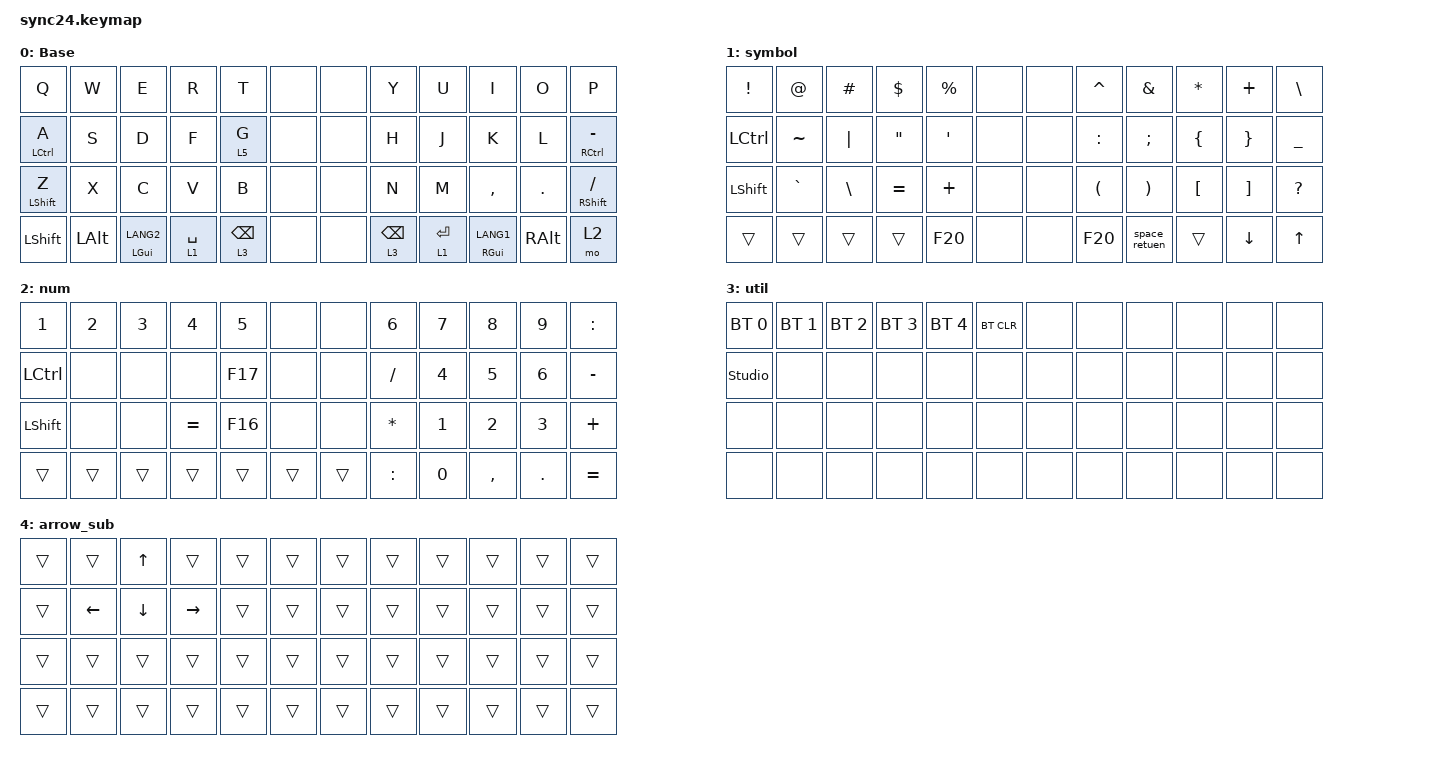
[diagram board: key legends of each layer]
#define ZMK_BEHAVIORS_OMIT_KT

#undef ZMK_BEHAVIORS_KEEP_ALL

#define ZMK_BEHAVIORS_KEEP_SK
#define ZMK_BEHAVIORS_KEEP_MT
#define ZMK_BEHAVIORS_KEEP_KT

#include <behaviors.dtsi>
#include <dt-bindings/zmk/bt.h>
#include <dt-bindings/zmk/keys.h>

/ {
    combos {
        compatible = "zmk,combos";

        combo_us {
            timeout-ms = <50>;
            key-positions = <26 25>;
            bindings = <&kp LANG2>;
        };

        combo_kana {
            timeout-ms = <50>;
            key-positions = <33 34>;
            bindings = <&kp LANG1>;
        };

        L_CTRL {
            bindings = <&kp LCTRL>;
            key-positions = <12 13>;
        };

        L_SHIFT {
            bindings = <&kp LS(LSHIFT)>;
            key-positions = <24 25>;
        };

        tab {
            bindings = <&kp TAB>;
            key-positions = <23 22>;
        };

        rshift {
            bindings = <&kp RSHIFT>;
            key-positions = <34 35>;
        };

        esc {
            bindings = <&kp ESCAPE>;
            key-positions = <0 1>;
        };

        left {
            bindings = <&kp LEFT_ARROW>;
            key-positions = <21 20>;
        };

        right {
            bindings = <&kp RIGHT>;
            key-positions = <21 22>;
        };

        mo_util {
            bindings = <&mo 4>;
            key-positions = <36 37>;
        };

        STUDIO_UNLOCK {
            bindings = <&studio_unlock>;
            key-positions = <36 37 46 47>;
        };

        mo_num {
            bindings = <&mo 2>;
            key-positions = <14 15>;
        };

        left_return {
            bindings = <&kp RETURN>;
            key-positions = <27 26>;
        };
    };

    macros {
        space_retuen: space_retuen {
            compatible = "zmk,behavior-macro";
            #binding-cells = <0>;
            bindings = <&kp SPACE &kp RETURN>;
            label = "SPACE_RETUEN";
        };
    };

    behaviors {
        ht_tp: ht_tp {
            compatible = "zmk,behavior-hold-tap";
            label = "HT_TP";
            bindings = <&kp>, <&kp>;

            #binding-cells = <2>;
            tapping-term-ms = <150>;
            flavor = "tap-preferred";
            quick-tap-ms = <150>;
            require-prior-idle-ms = <100>;
        };

        lt_tp: lt_tp {
            compatible = "zmk,behavior-hold-tap";
            label = "LT_TP";
            bindings = <&mo>, <&kp>;

            #binding-cells = <2>;
            flavor = "tap-preferred";
            tapping-term-ms = <150>;
            require-prior-idle-ms = <50>;
            hold-while-undecided;
        };
    };

    keymap {
        compatible = "zmk,keymap";

        // ▄▄▄▄▄▄▄▄▄▄▄▄▄▄▄▄▄▄▄▄▄▄▄▄▄▄▄▄▄▄▄▄▄▄▄▄▄▄▄▄▄▄▄▄▄▄▄▄▄▄▄▄▄▄▄▄▄▄▄▄▄▄▄▄▄▄▄▄▄▄▄▄▄▄▄▄▄▄▄▄▄▄▄▄▄▄▄▄▄▄▄▄▄▄▄▄▄▄▄▄▄▄▄▄▄▄▄▄▄▄▄▄▄▄▄▄▄▄▄▄▄▄▄▄▄▄▄▄▄▄▄▄▄▄▄▄▄▄▄▄▄▄▄▄▄▄▄▄▄

        base {
            display-name = "Base";
            bindings = <
&kp Q            &kp W         &kp E           &kp R           &kp T               &none  &none  &kp Y               &kp U            &kp I           &kp O          &kp P
&ht_tp LCTRL A   &kp S         &kp D           &kp F           &lt_tp 5 G          &none  &none  &kp H               &kp J            &kp K           &kp L          &ht_tp RCTRL MINUS
&ht_tp LSHIFT Z  &kp X         &kp C           &kp V           &kp B               &none  &none  &kp N               &kp M            &kp COMMA       &kp DOT        &ht_tp RSHIFT SLASH
&kp LEFT_SHIFT   &kp LEFT_ALT  &mt LGUI LANG2  &lt_tp 1 SPACE  &lt_tp 3 BACKSPACE  &none  &none  &lt_tp 3 BACKSPACE  &lt_tp 1 RETURN  &mt RGUI LANG1  &kp RIGHT_ALT  &mo 2
            >;
        };

        symbol {
            display-name = "symbol";
            bindings = <
&kp EXCL    &kp AT     &kp HASH       &kp DOLLAR         &kp PERCENT       &none  &none  &kp CARET             &kp AMPERSAND          &kp ASTERISK      &kp PLUS           &kp BACKSLASH
&kp LCTRL   &kp TILDE  &kp PIPE       &kp DOUBLE_QUOTES  &kp SINGLE_QUOTE  &none  &none  &kp COLON             &kp SEMI               &kp LEFT_BRACE    &kp RIGHT_BRACE    &kp UNDER
&kp LSHIFT  &kp GRAVE  &kp BACKSLASH  &kp EQUAL          &kp PLUS          &none  &none  &kp LEFT_PARENTHESIS  &kp RIGHT_PARENTHESIS  &kp LEFT_BRACKET  &kp RIGHT_BRACKET  &kp QUESTION
&trans      &trans     &trans         &trans             &kp F20           &none  &none  &kp F20               &space_retuen          &trans            &kp DOWN           &kp UP_ARROW
            >;
        };

        num {
            display-name = "num";
            bindings = <
&kp N1     &kp N2  &kp N3  &kp N4     &kp N5   &none   &none   &kp N6     &kp N7  &kp N8     &kp N9   &kp COLON
&kp LCTRL  &none   &none   &none      &kp F17  &none   &none   &kp FSLH   &kp N4  &kp N5     &kp N6   &kp MINUS
&kp LSHFT  &none   &none   &kp EQUAL  &kp F16  &none   &none   &kp STAR   &kp N1  &kp N2     &kp N3   &kp PLUS
&trans     &trans  &trans  &trans     &trans   &trans  &trans  &kp COLON  &kp N0  &kp COMMA  &kp DOT  &kp EQUAL
            >;
        };

        arrow {
            status = "reserved";
            bindings = <
&kp ESCAPE  &none               &kp LC(UP_ARROW)  &none          &kp F15        &none   &none   &kp LG(LEFT_ARROW)  &kp LG(DOWN_ARROW)  &kp LG(UP_ARROW)  &kp LG(RIGHT)  &kp ESCAPE
&kp LCTRL   &kp LC(LEFT_ARROW)  &kp LC(DOWN)      &kp LC(RIGHT)  &kp F14        &none   &none   &kp LEFT_ARROW      &kp DOWN            &kp UP_ARROW      &kp RIGHT      &kp TAB
&kp LSHFT   &none               &kp LC(LA(S))     &none          &kp F13        &none   &none   &kp LA(LEFT_ARROW)  &kp LA(DOWN)        &kp LA(UP_ARROW)  &kp LA(RIGHT)  &kp RSHIFT
&trans      &trans              &trans            &kp F15        &kp BACKSPACE  &trans  &trans  &kp BACKSPACE       &kp F15             &trans            &trans         &kp LC(ESCAPE)
            >;

            label = "arrow";
        };

        util {
            display-name = "util";
            bindings = <
&bt BT_SEL 0    &bt BT_SEL 1  &bt BT_SEL 2  &bt BT_SEL 3  &bt BT_SEL 4  &bt BT_CLR  &none  &none  &none  &none  &none  &none
&studio_unlock  &none         &none         &none         &none         &none       &none  &none  &none  &none  &none  &none
&none           &none         &none         &none         &none         &none       &none  &none  &none  &none  &none  &none
&none           &none         &none         &none         &none         &none       &none  &none  &none  &none  &none  &none
            >;
        };

        arrow_sub {
            bindings = <
&trans  &trans    &kp UP    &trans     &trans  &trans  &trans  &trans  &trans  &trans  &trans  &trans
&trans  &kp LEFT  &kp DOWN  &kp RIGHT  &trans  &trans  &trans  &trans  &trans  &trans  &trans  &trans
&trans  &trans    &trans    &trans     &trans  &trans  &trans  &trans  &trans  &trans  &trans  &trans
&trans  &trans    &trans    &trans     &trans  &trans  &trans  &trans  &trans  &trans  &trans  &trans
            >;
        };

        // ▄▄▄▄▄▄▄▄▄▄▄▄▄▄▄▄▄▄▄▄▄▄▄▄▄▄▄▄▄▄▄▄▄▄▄▄▄▄▄▄▄▄▄▄▄▄▄▄▄▄▄▄▄▄▄▄▄▄▄▄▄▄▄▄▄▄▄▄▄▄▄▄▄▄▄▄▄▄▄▄▄▄▄▄▄▄▄▄▄▄▄▄▄▄▄▄▄▄▄▄▄▄▄▄▄▄▄▄▄▄▄▄▄▄▄▄▄▄▄▄▄▄▄▄▄▄▄▄▄▄▄▄▄▄▄▄▄▄▄▄▄▄▄▄▄▄▄▄▄
    };
};
